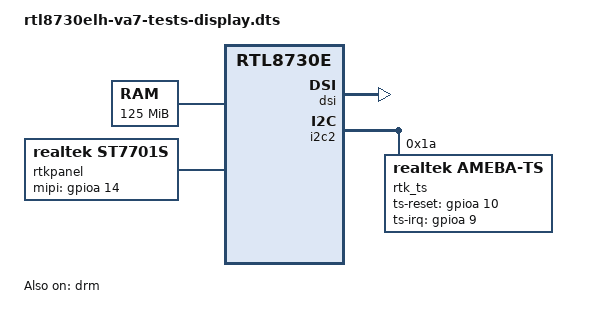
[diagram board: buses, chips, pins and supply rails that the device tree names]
// SPDX-License-Identifier: GPL-2.0-only
/*
* Realtek DTS for display test
*
* Copyright (C) 2023, Realtek Corporation. All rights reserved.
*/

/dts-v1/;

#include "rtl8730e.dtsi"
#include "rtl8730e-spi-nand-128m.dtsi"
#include "rtl8730e-drm.dtsi"

/ {
	memory {
		device_type = "memory";
		// DRAM base address should be 1MB-aligned.
		reg = <0x60300000 0x7D00000>;  // 128MB -- exclude 3MB secure memory
	};
	reserved-memory {
		#address-cells = <1>;
		#size-cells = <1>;
		ranges;
		// reserver 32M mem for drm graphics , from 0x61000000 to 0x63000000
		mem_drm_reserved: drm_buffer@0x61000000 {
			compatible = "shared-dma-pool";
			no-map;
			reg = <0x61000000 0x2000000>;
			//linux,cma-default;
		};
	};
};

// Configure peripherals, avoid pinmux conflicts.


&drm {
	status = "okay";
};

&dsi {
	status = "okay";
};

&rtkpanel {
	compatible = "realtek,st7701s";
	pinctrl-names="default";
	pinctrl-0 = <&drm_disable_swd_pins>;
	mipi-gpios = <&gpioa 14 0>;
	status = "okay";
};


&i2c0{
	pinctrl-names = "default";
	pinctrl-0 = <&i2c0_pins>;
	status = "disabled";
};

&i2c1{
	pinctrl-names = "default";
	pinctrl-0 = <&i2c1_pins>;
	status = "disabled";
};

&i2c2{
	#address-cells = <1>;
	#size-cells = <0>;
	pinctrl-names = "default";
	pinctrl-0 = <&i2c2_pins>;
	status = "okay";

	rtk_ts@1a {
		compatible = "realtek,ameba-ts";
		reg = <0x1a>;
		ts-reset-gpios = <&gpioa 10 0>;
		ts-irq-gpios = <&gpioa 9 0>;
		max-touch-number = <5>;
		ts-display-coords = <480 800>;
		status = "okay";
	};
};

